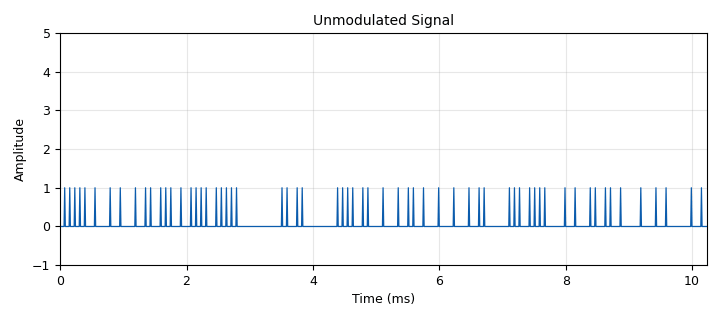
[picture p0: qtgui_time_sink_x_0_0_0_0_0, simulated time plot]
options:
  parameters:
    author: Arsalan Ahmed
    generate_options: qt_gui
    id: OOK_Demodulator_BER_Example
    output_language: python
    title: Example of the OOK Demodulator showing BER
  states: {}

blocks:
- name: average_val
  id: variable_qtgui_label
  parameters:
    type: real
    value: threshold
  states: {}
- name: averaging_window_size
  id: variable
  parameters:
    value: '1000'
  states: {}
- name: max_magnitude
  id: variable
  parameters:
    value: '4'
  states: {}
- name: min_magnitude
  id: variable
  parameters:
    value: '2'
  states: {}
- name: samp_rate
  id: variable
  parameters:
    value: 100e3
  states: {}
- name: samples_per_symbol
  id: variable
  parameters:
    value: '5'
  states: {}
- name: threshold
  id: variable_function_probe
  parameters:
    block_id: average
    function_name: level
    poll_rate: '10'
    value: '0'
  states: {}
- name: analog_random_source_x_0
  id: analog_random_source_x
  parameters:
    max: '2'
    min: '0'
    num_samps: '1000'
    repeat: 'True'
    type: byte
  states: {}
- name: average
  id: blocks_probe_signal_x
  parameters:
    type: float
  states: {}
- name: blocks_float_to_uchar_0
  id: blocks_float_to_uchar
  parameters: {}
  states: {}
- name: blocks_moving_average_xx_0
  id: blocks_moving_average_xx
  parameters:
    length: averaging_window_size
    max_iter: '4000'
    scale: 1/averaging_window_size
    type: float
  states: {}
- name: blocks_multiply_const_vxx_0
  id: blocks_multiply_const_vxx
  parameters:
    const: '1'
    type: float
  states: {}
- name: blocks_pack_k_bits_bb_0
  id: blocks_pack_k_bits_bb
  parameters:
    k: '8'
  states: {}
- name: blocks_throttle_0
  id: blocks_throttle
  parameters:
    samples_per_second: samp_rate
    type: float
  states: {}
- name: blocks_uchar_to_float_1
  id: blocks_uchar_to_float
  parameters: {}
  states: {}
- name: blocks_unpack_k_bits_bb_0
  id: blocks_unpack_k_bits_bb
  parameters:
    k: '8'
  states: {}
- name: fec_ber_bf_0
  id: fec_ber_bf
  parameters:
    test_mode: 'False'
  states: {}
- name: owc_OOK_Demodulator_0
  id: owc_OOK_Demodulator
  parameters:
    samples_per_symbol: samples_per_symbol
    threshold: threshold
  states: {}
- name: owc_OOK_Modulator_one_0
  id: owc_OOK_Modulator_one
  parameters:
    max_mag: max_magnitude
    min_mag: min_magnitude
    samples_per_symbol: samples_per_symbol
  states: {}
- name: qtgui_number_sink_0
  id: qtgui_number_sink
  parameters:
    graph_type: qtgui.NUM_GRAPH_HORIZ
    min: '-10'
    name: '"Bit Error Rate"'
    type: float
  states: {}
- name: qtgui_time_sink_x_0_0_0_0_0
  id: qtgui_time_sink_x
  parameters:
    name: Unmodulated Signal
    size: '1024'
    srate: samp_rate
    type: float
    ymax: '5'
  states: {}
- name: qtgui_time_sink_x_0_0_0_0_0_0
  id: qtgui_time_sink_x
  parameters:
    name: OOK Modulated Signal
    size: '1024'
    srate: samp_rate
    type: float
    ymax: '5'
  states: {}
- name: qtgui_time_sink_x_0_0_0_0_0_0_0
  id: qtgui_time_sink_x
  parameters:
    name: Demodulated Signal
    size: '1024'
    srate: samp_rate
    type: float
    ymax: '5'
  states: {}

connections:
- [analog_random_source_x_0, '0', blocks_unpack_k_bits_bb_0, '0']
- [analog_random_source_x_0, '0', fec_ber_bf_0, '0']
- [blocks_float_to_uchar_0, '0', blocks_pack_k_bits_bb_0, '0']
- [blocks_moving_average_xx_0, '0', average, '0']
- [blocks_multiply_const_vxx_0, '0', blocks_moving_average_xx_0, '0']
- [blocks_multiply_const_vxx_0, '0', owc_OOK_Demodulator_0, '0']
- [blocks_pack_k_bits_bb_0, '0', fec_ber_bf_0, '1']
- [blocks_throttle_0, '0', qtgui_time_sink_x_0_0_0_0_0, '0']
- [blocks_uchar_to_float_1, '0', blocks_throttle_0, '0']
- [blocks_uchar_to_float_1, '0', owc_OOK_Modulator_one_0, '0']
- [blocks_unpack_k_bits_bb_0, '0', blocks_uchar_to_float_1, '0']
- [fec_ber_bf_0, '0', qtgui_number_sink_0, '0']
- [owc_OOK_Demodulator_0, '0', blocks_float_to_uchar_0, '0']
- [owc_OOK_Demodulator_0, '0', qtgui_time_sink_x_0_0_0_0_0_0_0, '0']
- [owc_OOK_Modulator_one_0, '0', blocks_multiply_const_vxx_0, '0']
- [owc_OOK_Modulator_one_0, '0', qtgui_time_sink_x_0_0_0_0_0_0, '0']

metadata:
  file_format: 1
